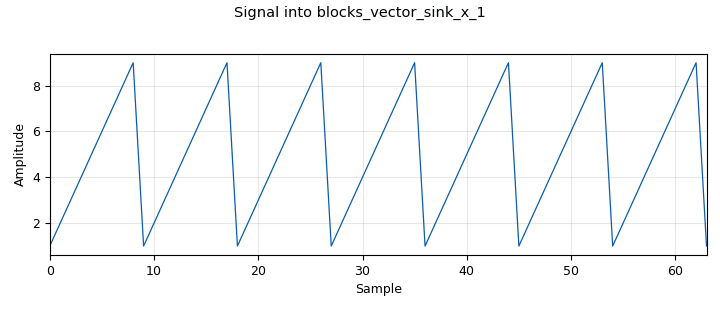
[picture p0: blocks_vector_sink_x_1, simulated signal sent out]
<?xml version='1.0' encoding='utf-8'?>
<flow_graph>
<block>
<key>options</key>
<param><key>id</key><value>top_block</value></param>
<param><key>generate_options</key><value>wx_gui</value></param>
<param><key>category</key><value>Custom</value></param>
</block>
<block>
<key>variable</key>
<param><key>id</key><value>samp_rate</value></param>
<param><key>value</key><value>32000</value></param>
</block>
<block>
<key>blocks_vector_source_x</key>
<param><key>id</key><value>blocks_vector_source_x_0</value></param>
<param><key>type</key><value>byte</value></param>
<param><key>vector</key><value>(1, 2, 3,4,5,6,7,8,9)</value></param>
<param><key>repeat</key><value>True</value></param>
</block>
<block>
<key>blocks_throttle</key>
<param><key>id</key><value>blocks_throttle_0</value></param>
<param><key>type</key><value>byte</value></param>
<param><key>samples_per_second</key><value>samp_rate</value></param>
</block>
<block>
<key>blocks_stream_to_tagged_stream</key>
<param><key>id</key><value>blocks_stream_to_tagged_stream_0</value></param>
<param><key>type</key><value>byte</value></param>
<param><key>packet_len</key><value>10</value></param>
<param><key>len_tag_key</key><value>"packet_len"</value></param>
</block>
<block>
<key>blocks_vector_sink_x</key>
<param><key>id</key><value>blocks_vector_sink_x_0</value></param>
<param><key>type</key><value>byte</value></param>
</block>
<block>
<key>blocks_head</key>
<param><key>id</key><value>blocks_head_0</value></param>
<param><key>type</key><value>byte</value></param>
<param><key>num_items</key><value>1000</value></param>
</block>
<block>
<key>blocks_vector_sink_x</key>
<param><key>id</key><value>blocks_vector_sink_x_1</value></param>
<param><key>type</key><value>byte</value></param>
</block>
<block>
<key>blocks_tagged_stream_to_pdu</key>
<param><key>id</key><value>blocks_tagged_stream_to_pdu_0</value></param>
<param><key>type</key><value>byte</value></param>
<param><key>tag</key><value>packet_len</value></param>
</block>
<block>
<key>blocks_pdu_to_tagged_stream</key>
<param><key>id</key><value>blocks_pdu_to_tagged_stream_0</value></param>
<param><key>type</key><value>byte</value></param>
<param><key>tag</key><value>packet_len</value></param>
</block>
<block>
<key>framers_gr_hdlc_framer_b</key>
<param><key>id</key><value>framers_gr_hdlc_framer_b_0</value></param>
<param><key>dlci</key><value>0</value></param>
</block>
<block>
<key>framers_gr_hdlc_deframer_b</key>
<param><key>id</key><value>framers_gr_hdlc_deframer_b_0</value></param>
<param><key>dlci</key><value>0</value></param>
</block>
<connection><source_block_id>blocks_vector_source_x_0</source_block_id><sink_block_id>blocks_throttle_0</sink_block_id><source_key>0</source_key><sink_key>0</sink_key></connection>
<connection><source_block_id>blocks_throttle_0</source_block_id><sink_block_id>blocks_head_0</sink_block_id><source_key>0</source_key><sink_key>0</sink_key></connection>
<connection><source_block_id>blocks_head_0</source_block_id><sink_block_id>blocks_stream_to_tagged_stream_0</sink_block_id><source_key>0</source_key><sink_key>0</sink_key></connection>
<connection><source_block_id>blocks_stream_to_tagged_stream_0</source_block_id><sink_block_id>blocks_tagged_stream_to_pdu_0</sink_block_id><source_key>0</source_key><sink_key>0</sink_key></connection>
<connection><source_block_id>blocks_tagged_stream_to_pdu_0</source_block_id><sink_block_id>framers_gr_hdlc_framer_b_0</sink_block_id><source_key>pdus</source_key><sink_key>in</sink_key></connection>
<connection><source_block_id>framers_gr_hdlc_framer_b_0</source_block_id><sink_block_id>framers_gr_hdlc_deframer_b_0</sink_block_id><source_key>0</source_key><sink_key>0</sink_key></connection>
<connection><source_block_id>framers_gr_hdlc_deframer_b_0</source_block_id><sink_block_id>blocks_pdu_to_tagged_stream_0</sink_block_id><source_key>pdu</source_key><sink_key>pdus</sink_key></connection>
<connection><source_block_id>blocks_pdu_to_tagged_stream_0</source_block_id><sink_block_id>blocks_vector_sink_x_0</sink_block_id><source_key>0</source_key><sink_key>0</sink_key></connection>
<connection><source_block_id>blocks_head_0</source_block_id><sink_block_id>blocks_vector_sink_x_1</sink_block_id><source_key>0</source_key><sink_key>0</sink_key></connection>
</flow_graph>
